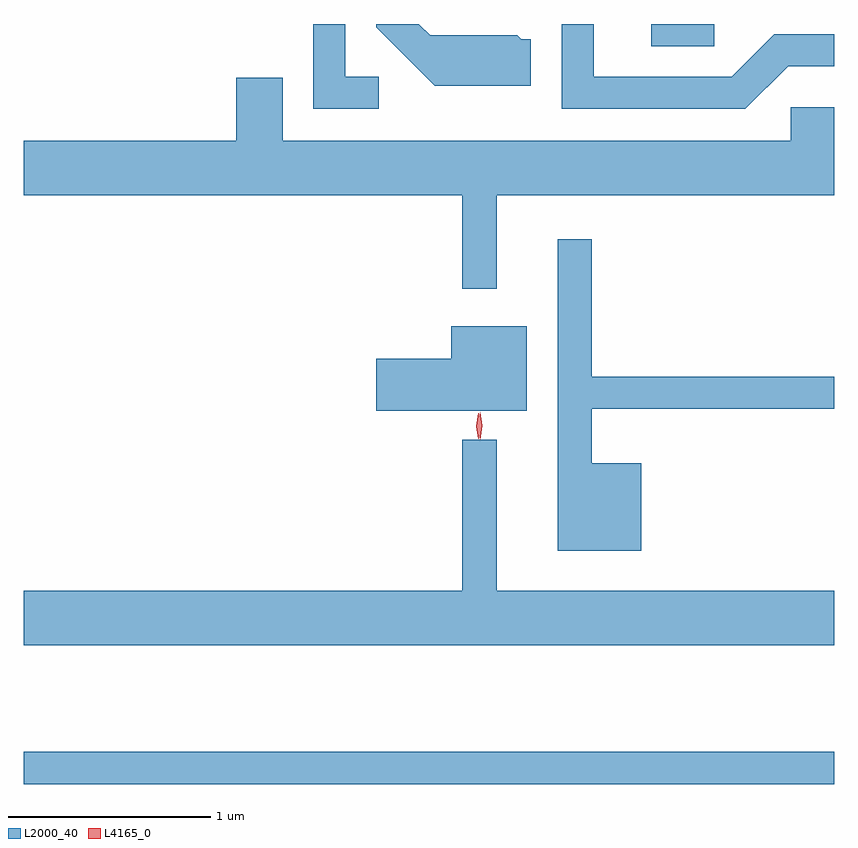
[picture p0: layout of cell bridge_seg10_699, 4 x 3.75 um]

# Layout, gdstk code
import gdstk
lib = gdstk.Library(unit=1e-6, precision=1e-09)
def R(c, l, rs):  # rectangles x0, y0, x1, y1
    for r in rs: c.add(gdstk.rectangle(r[:2], r[2:], *l))
def P(c, l, *ps):  # polygons
    for p in ps: c.add(gdstk.Polygon(p, *l))
L2000_40 = (2000, 40)
L4165_0 = (4165, 0)

bridge_seg10_699 = lib.new_cell('bridge_seg10_699')
R(bridge_seg10_699, L2000_40, [(857.726,2135.431,861.726,2135.589), (860.823,2139.071,861.134,2139.18)])
P(bridge_seg10_699, L2000_40, [(861.497,2138.971),(861.726,2138.971),(861.726,2139.129),(861.429,2139.129),(861.219,2138.919),(860.539,2138.919),(860.539,2139.18),(860.381,2139.18),(860.381,2138.761),(861.287,2138.761)],
  [(860.229,2139.104),(860.182,2139.104),(860.162,2139.124),(859.732,2139.124),(859.676,2139.18),(859.466,2139.18),(859.466,2139.164),(859.754,2138.876),(860.229,2138.876)],
  [(859.478,2138.919),(859.314,2138.919),(859.314,2139.18),(859.156,2139.18),(859.156,2138.761),(859.478,2138.761)],
  [(860.059,2138.336),(861.726,2138.336),(861.726,2138.769),(861.511,2138.769),(861.511,2138.604),(859.004,2138.604),(859.004,2138.914),(858.776,2138.914),(858.776,2138.604),(857.726,2138.604),(857.726,2138.336),(859.891,2138.336),(859.891,2137.873),(860.059,2137.873)],
  [(860.774,2137.014),(860.529,2137.014),(860.529,2137.281),(861.726,2137.281),(861.726,2137.439),(860.529,2137.439),(860.529,2138.118),(860.361,2138.118),(860.361,2136.581),(860.774,2136.581)],
  [(860.209,2137.689),(859.836,2137.689),(859.836,2137.529),(859.466,2137.529),(859.466,2137.271),(860.209,2137.271)],
  [(861.726,2136.384),(860.059,2136.384),(860.059,2137.128),(859.891,2137.128),(859.891,2136.384),(857.726,2136.384),(857.726,2136.116),(861.726,2136.116)])
P(bridge_seg10_699, L4165_0, [(859.97,2137.133),(859.96,2137.196),(859.97,2137.26),(859.97,2137.26),(859.971,2137.26),(859.98,2137.196),(859.971,2137.133),(859.971,2137.133)],
  [(859.978,2137.13),(859.978,2137.13),(859.969,2137.198),(859.979,2137.265),(859.98,2137.266),(859.98,2137.265),(859.989,2137.198),(859.979,2137.13)])

lib.write_gds('bridge_seg10_699.gds')
